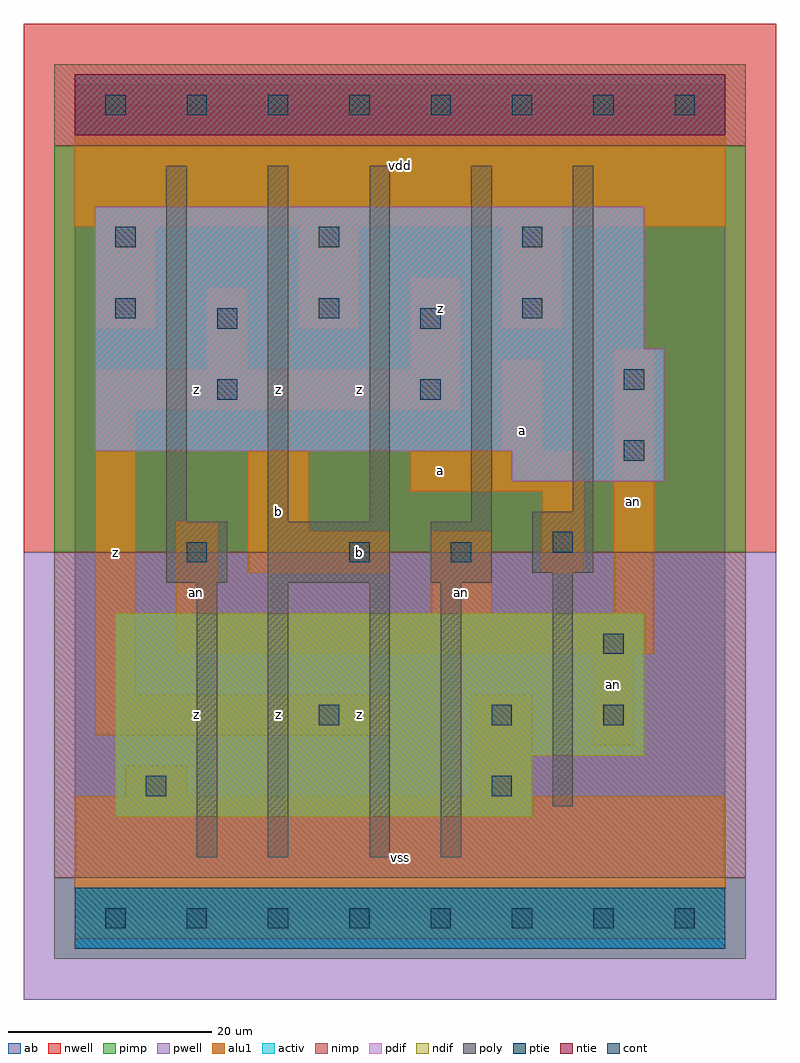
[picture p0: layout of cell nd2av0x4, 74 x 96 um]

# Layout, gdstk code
import gdstk
lib = gdstk.Library(unit=1e-6, precision=1e-09)
def R(c, l, rs):  # rectangles x0, y0, x1, y1
    for r in rs: c.add(gdstk.rectangle(r[:2], r[2:], *l))
def A(c, l, x, y, w, h, nx, ny, dx, dy):  # array of equal rectangles
    R(c, l, [(x+i*dx, y+j*dy, x+i*dx+w, y+j*dy+h) for i in range(nx) for j in range(ny)])
ndif = (3, 0)
pdif = (4, 0)
ntie = (5, 0)
ptie = (6, 0)
cont = (25, 0)
pwell = (41, 0)
nwell = (42, 0)
activ = (43, 0)
pimp = (44, 0)
nimp = (45, 0)
poly = (46, 0)
alu1 = (49, 0)
ab = (63, 0)

nd2av0x4 = lib.new_cell('nd2av0x4')
R(nd2av0x4, ndif, [(4,10,45,16), (4,16,56,30)])
R(nd2av0x4, pdif, [(43,43,58,46), (2,46,58,56), (2,56,56,70)])
R(nd2av0x4, ntie, [(0,77,64,83)])
R(nd2av0x4, ptie, [(0,-3,64,3)])
A(nd2av0x4, cont, 3, -1, 2, 2, 8, 2, 8, 80)
A(nd2av0x4, cont, 4, 59, 2, 2, 3, 2, 20, 7)
R(nd2av0x4, cont, [(7,12,9,14), (41,12,43,14), (24,19,26,21), (41,19,43,21), (52,19,54,21), (52,26,54,28), (11,35,13,37), (27,35,29,37), (37,35,39,37), (47,36,49,38), (54,45,56,47), (14,51,16,53), (34,51,36,53), (54,52,56,54), (14,58,16,60), (34,58,36,60)])
R(nd2av0x4, pwell, [(-5,-8,69,36)])
R(nd2av0x4, nwell, [(-5,36,69,88)])
R(nd2av0x4, activ, [(0,-3,64,3), (4,10,45,16), (4,16,56,30), (43,43,58,46), (2,46,58,56), (2,56,56,70), (0,77,64,83)])
R(nd2av0x4, pimp, [(-2,-4,66,4), (-2,36,66,76)])
R(nd2av0x4, nimp, [(-2,4,66,36), (-2,76,66,84)])
A(nd2av0x4, poly, 9, 39, 2, 35, 4, 1, 10, 0)
R(nd2av0x4, poly, [(12,6,14,33), (19,6,21,33), (29,6,31,33), (36,6,38,33), (47,11,49,34), (9,33,15,39), (19,33,31,39), (35,33,41,39), (45,34,51,40), (49,40,51,74)])
A(nd2av0x4, alu1, 2, 58, 6, 10, 3, 1, 20, 0)
R(nd2av0x4, alu1, [(0,-2,64,12), (5,12,11,15), (39,12,45,22), (51,17,55,26), (2,18,31,22), (2,22,6,50), (10,26,57,30), (10,30,14,39), (35,30,41,38), (53,30,57,56), (17,34,31,38), (46,34,50,42), (17,38,23,46), (33,42,50,46), (42,46,46,55), (2,50,38,54), (13,54,17,62), (33,54,38,63), (0,68,64,82)])
R(nd2av0x4, ab, [(0,0,64,80)])
nd2av0x4.add(gdstk.Label('an', (12,32), layer=49, texttype=0))
nd2av0x4.add(gdstk.Label('an', (38,32), layer=49, texttype=0))
nd2av0x4.add(gdstk.Label('an', (53,23), layer=49, texttype=0))
nd2av0x4.add(gdstk.Label('an', (55,41), layer=49, texttype=0))
nd2av0x4.add(gdstk.Label('z', (12,20), layer=49, texttype=0))
nd2av0x4.add(gdstk.Label('z', (4,36), layer=49, texttype=0))
nd2av0x4.add(gdstk.Label('z', (12,52), layer=49, texttype=0))
nd2av0x4.add(gdstk.Label('z', (20,20), layer=49, texttype=0))
nd2av0x4.add(gdstk.Label('z', (28,20), layer=49, texttype=0))
nd2av0x4.add(gdstk.Label('b', (28,36), layer=49, texttype=0))
nd2av0x4.add(gdstk.Label('b', (20,40), layer=49, texttype=0))
nd2av0x4.add(gdstk.Label('z', (20,52), layer=49, texttype=0))
nd2av0x4.add(gdstk.Label('z', (28,52), layer=49, texttype=0))
nd2av0x4.add(gdstk.Label('vss', (32,6), layer=49, texttype=0))
nd2av0x4.add(gdstk.Label('a', (36,44), layer=49, texttype=0))
nd2av0x4.add(gdstk.Label('a', (44,48), layer=49, texttype=0))
nd2av0x4.add(gdstk.Label('z', (36,60), layer=49, texttype=0))
nd2av0x4.add(gdstk.Label('vdd', (32,74), layer=49, texttype=0))

lib.write_gds('nd2av0x4.gds')
